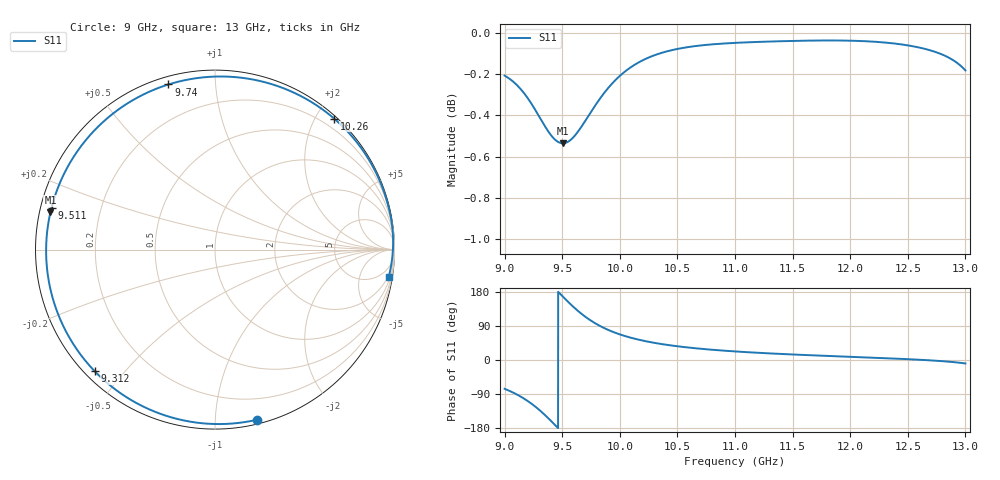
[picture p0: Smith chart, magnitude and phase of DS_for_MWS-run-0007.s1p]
! TOUCHSTONE file generated by CST DESIGN STUDIO
! Date and time: Tue Feb  4 13:51:26 2025
! Project name: C:\Work\MatlabApps\UnitCellOptimizationMatlab\CST\unitcell.cst
! Tree item: Tasks\Sweep1\SPara1\S-Parameters
! Header version: 2024
! Port assignment regex: !\s*Touchstone port\s*([0-9]+)\s*=\s*(CST MWS port|CST DES external port|CST DES block port)\s*(.+)\s* \(\"(.*)\"\)(\s*mode\s*([0-9]+))?.*
! Touchstone port assignment:
! Touchstone port 1 = CST DES external port 1 ("")
# GHz S MA R 50
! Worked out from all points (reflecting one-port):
!   4001 points, 9 GHz to 13 GHz, reference 50 ohm
!   lowest |S11| = -0.5 dB at 9.506 GHz (marker M1), VSWR 32.45, Z = 1.56 + j5.61 ohm
!   phase of S11 starts at -76 deg and turns -293 deg over the sweep
!   S11 on the Smith chart (normalised r, x): 9 GHz: 0.03, -1.28; 9.312 GHz: 0.03, -0.42; 9.511 GHz: 0.03, +0.13; 9.74 GHz: 0.04, +0.76; 10.26 GHz: 0.04, +2.26; 13 GHz: 2, -12
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9  0.9765 -76.1
9.081  0.9729 -87.0
9.179  0.9661 -103.9
9.248  0.9598 -118.6
9.312  0.9532 -134.6
9.366  0.9477 -149.7
9.413  0.9437 -163.8
9.457  0.9412 -177.5
9.5  0.9402 169.0
9.506  0.9402 167.2
9.511  0.9402 165.6
9.571  0.9419 147.6
9.626  0.9455 132.4
9.681  0.9503 118.6
9.74  0.9559 105.8
9.8  0.9616 94.5
9.869  0.9674 83.6
10  0.9764 67.6
10.118  0.982 57.0
10.255  0.9866 47.8
10.5  0.9912 36.2
10.722  0.9933 29.1
11  0.9946 22.6
11.5  0.9957 14.6
12  0.9958 8.4
12.5  0.9932 2.2
12.789  0.9884 -2.8
13  0.9794 -9.1
